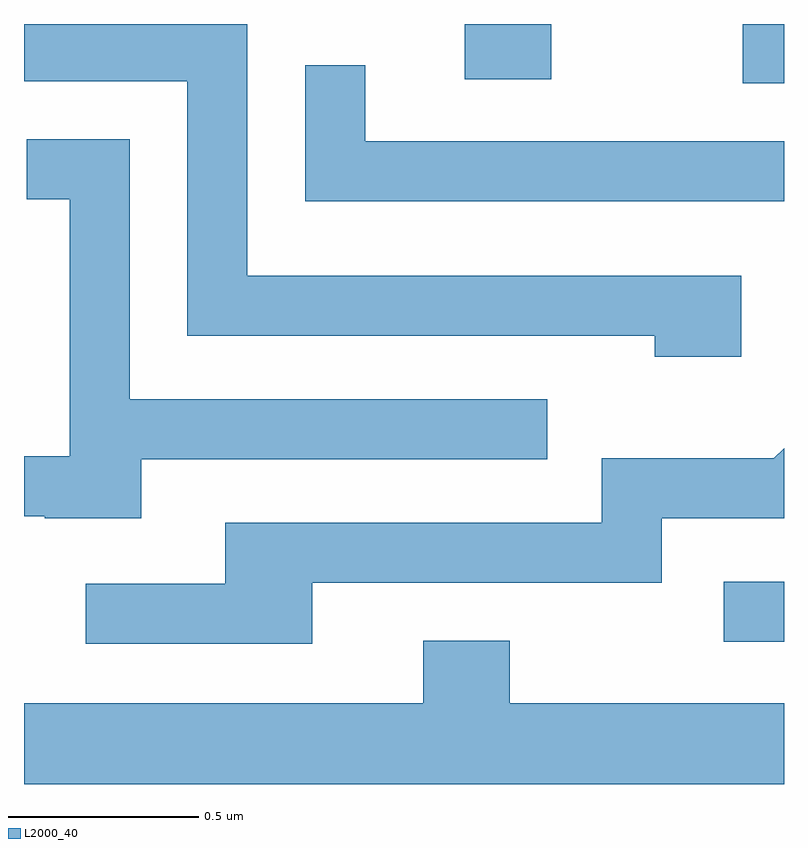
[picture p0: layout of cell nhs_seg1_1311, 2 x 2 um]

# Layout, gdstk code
import gdstk
lib = gdstk.Library(unit=1e-6, precision=1e-09)
def R(c, l, rs):  # rectangles x0, y0, x1, y1
    for r in rs: c.add(gdstk.rectangle(r[:2], r[2:], *l))
def P(c, l, *ps):  # polygons
    for p in ps: c.add(gdstk.Polygon(p, *l))
L2000_40 = (2000, 40)

nhs_seg1_1311 = lib.new_cell('nhs_seg1_1311')
R(nhs_seg1_1311, L2000_40, [(196.453,931.086,196.611,931.244), (196.503,932.556,196.611,932.712), (195.771,932.566,195.999,932.712)])
P(nhs_seg1_1311, L2000_40, [(196.499,932.049),(195.199,932.049),(195.199,932.712),(194.611,932.712),(194.611,932.561),(195.041,932.561),(195.041,931.891),(196.271,931.891),(196.271,931.836),(196.499,931.836)],
  [(196.611,932.404),(195.509,932.404),(195.509,932.603),(195.351,932.603),(195.351,932.246),(196.611,932.246)],
  [(194.919,931.566),(195.988,931.566),(195.988,931.724),(194.889,931.724),(194.889,932.409),(194.618,932.409),(194.618,932.251),(194.731,932.251),(194.731,931.574),(194.611,931.574),(194.611,931.416),(194.665,931.416),(194.665,931.411),(194.919,931.411)],
  [(195.369,931.241),(196.289,931.241),(196.289,931.411),(196.611,931.411),(196.611,931.596),(196.584,931.569),(196.131,931.569),(196.131,931.399),(195.141,931.399),(195.141,931.239),(194.773,931.239),(194.773,931.081),(195.369,931.081)],
  [(196.611,930.924),(195.889,930.924),(195.889,931.089),(195.661,931.089),(195.661,930.924),(194.611,930.924),(194.611,930.712),(196.611,930.712)])

lib.write_gds('nhs_seg1_1311.gds')
